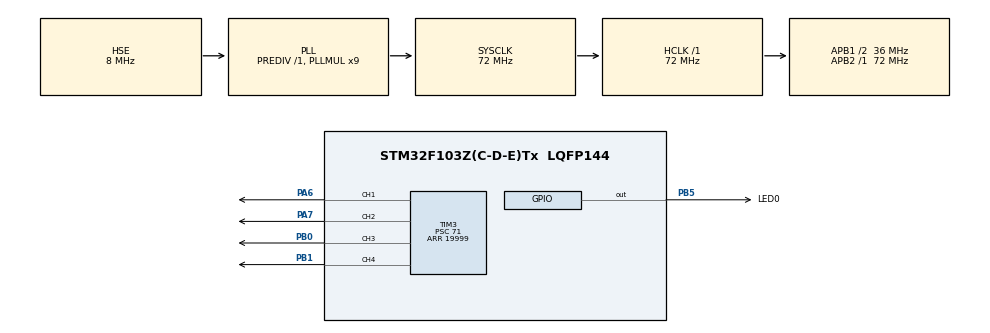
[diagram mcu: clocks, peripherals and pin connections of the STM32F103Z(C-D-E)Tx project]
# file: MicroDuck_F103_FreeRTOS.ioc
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FREERTOS.HEAP_NUMBER=4
FREERTOS.Tasks01=heartbeatTask,24,128,StartHeartbeatTask,Default,NULL,Dynamic,NULL,NULL
FREERTOS.configCHECK_FOR_STACK_OVERFLOW=2
FREERTOS.configTOTAL_HEAP_SIZE=8192
FREERTOS.configUSE_NEWLIB_REENTRANT=0
Mcu.Family=STM32F1
Mcu.Name=STM32F103Z(C-D-E)Tx
Mcu.Package=LQFP144
NVIC.PriorityGroup=NVIC_PRIORITYGROUP_4
NVIC.TIM1_UP_IRQn=true\:15\:0\:false\:false\:true\:false\:false\:true\:true
NVIC.TimeBase=TIM1_UP_IRQn
NVIC.TimeBaseIP=TIM1
OSC_IN.Mode=HSE-External-Oscillator
OSC_IN.Signal=RCC_OSC_IN
OSC_OUT.Mode=HSE-External-Oscillator
OSC_OUT.Signal=RCC_OSC_OUT
PA13.Mode=Serial_Wire
PA13.Signal=SYS_JTMS-SWDIO
PA14.Mode=Serial_Wire
PA14.Signal=SYS_JTCK-SWCLK
PA6.Signal=S_TIM3_CH1
PA7.Signal=S_TIM3_CH2
PB0.Signal=S_TIM3_CH3
PB1.Signal=S_TIM3_CH4
PB5.GPIO_Label=LED0
PB5.GPIO_PuPd=GPIO_NOPULL
PB5.GPIO_Speed=GPIO_SPEED_FREQ_LOW
PB5.PinState=GPIO_PIN_SET
PB5.Signal=GPIO_Output
ProjectManager.HeapSize=0x400
ProjectManager.StackSize=0x800
ProjectManager.TargetToolchain=STM32CubeIDE
RCC.AHBFreq_Value=72000000
RCC.APB1CLKDivider=RCC_HCLK_DIV2
RCC.APB1Freq_Value=36000000
RCC.APB1TimFreq_Value=72000000
RCC.APB2Freq_Value=72000000
RCC.APB2TimFreq_Value=72000000
RCC.HCLKFreq_Value=72000000
RCC.PLLMUL=RCC_PLL_MUL9
RCC.PLLSourceVirtual=RCC_PLLSOURCE_HSE
RCC.SYSCLKFreq_VALUE=72000000
RCC.SYSCLKSource=RCC_SYSCLKSOURCE_PLLCLK
RCC.USBFreq_Value=72000000
SH.S_TIM3_CH1.0=TIM3_CH1,PWM Generation1 CH1
SH.S_TIM3_CH2.0=TIM3_CH2,PWM Generation2 CH2
SH.S_TIM3_CH3.0=TIM3_CH3,PWM Generation3 CH3
SH.S_TIM3_CH4.0=TIM3_CH4,PWM Generation4 CH4
TIM3.Channel-PWM\ Generation1\ CH1=TIM_CHANNEL_1
TIM3.Channel-PWM\ Generation2\ CH2=TIM_CHANNEL_2
TIM3.Channel-PWM\ Generation3\ CH3=TIM_CHANNEL_3
TIM3.Channel-PWM\ Generation4\ CH4=TIM_CHANNEL_4
TIM3.Period=19999
TIM3.Prescaler=71
VP_FREERTOS_VS_CMSIS_V2.Mode=CMSIS_V2
VP_SYS_VS_tim1.Mode=TIM1
board=custom

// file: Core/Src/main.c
/* USER CODE BEGIN Header */
/**
  ******************************************************************************
  * @file           : main.c
  * @brief          : Main program body
  ******************************************************************************
  * @attention
  *
  * Copyright (c) 2026 STMicroelectronics.
  * All rights reserved.
  *
  * This software is licensed under terms that can be found in the LICENSE file
  * in the root directory of this software component.
  * If no LICENSE file comes with this software, it is provided AS-IS.
  *
  ******************************************************************************
  */
/* USER CODE END Header */
#include "main.h"
#include "cmsis_os.h"
#include "tim.h"
#include "gpio.h"

/* USER CODE BEGIN Includes */
#include "servo_pwm.h"
#include "servo_control.h"

/* USER CODE END Includes */

void SystemClock_Config(void);
void MX_FREERTOS_Init(void);

int main(void)
{

  /* MCU Configuration--------------------------------------------------------*/

  /* Reset of all peripherals, Initializes the Flash interface and the Systick. */
  HAL_Init();

  /* Configure the system clock */
  SystemClock_Config();

  /* Initialize all configured peripherals */
  MX_GPIO_Init();
  MX_TIM3_Init();
  /* USER CODE BEGIN 2 */
  if (ServoControl_Init() != SERVO_CONTROL_OK) {
      Error_Handler();
  }

  if (ServoPwm_Start() != HAL_OK) {
        Error_Handler();
    }
  /* USER CODE END 2 */

  /* Init scheduler */
  osKernelInitialize();  /* Call init function for freertos objects (in cmsis_os2.c) */
  MX_FREERTOS_Init();

  /* Start scheduler */
  osKernelStart();

  /* We should never get here as control is now taken by the scheduler */

  /* Infinite loop */
  while (1)
  {

  }
}

void SystemClock_Config(void)
{
  RCC_OscInitTypeDef RCC_OscInitStruct = {0};
  RCC_ClkInitTypeDef RCC_ClkInitStruct = {0};

  /** Initializes the RCC Oscillators according to the specified parameters
  * in the RCC_OscInitTypeDef structure.
  */
  RCC_OscInitStruct.OscillatorType = RCC_OSCILLATORTYPE_HSE;
  RCC_OscInitStruct.HSEState = RCC_HSE_ON;
  RCC_OscInitStruct.HSEPredivValue = RCC_HSE_PREDIV_DIV1;
  RCC_OscInitStruct.HSIState = RCC_HSI_ON;
  RCC_OscInitStruct.PLL.PLLState = RCC_PLL_ON;
  RCC_OscInitStruct.PLL.PLLSource = RCC_PLLSOURCE_HSE;
  RCC_OscInitStruct.PLL.PLLMUL = RCC_PLL_MUL9;
  if (HAL_RCC_OscConfig(&RCC_OscInitStruct) != HAL_OK)
  {
    Error_Handler();
  }

  /** Initializes the CPU, AHB and APB buses clocks
  */
  RCC_ClkInitStruct.ClockType = RCC_CLOCKTYPE_HCLK|RCC_CLOCKTYPE_SYSCLK
                              |RCC_CLOCKTYPE_PCLK1|RCC_CLOCKTYPE_PCLK2;
  RCC_ClkInitStruct.SYSCLKSource = RCC_SYSCLKSOURCE_PLLCLK;
  RCC_ClkInitStruct.AHBCLKDivider = RCC_SYSCLK_DIV1;
  RCC_ClkInitStruct.APB1CLKDivider = RCC_HCLK_DIV2;
  RCC_ClkInitStruct.APB2CLKDivider = RCC_HCLK_DIV1;

  if (HAL_RCC_ClockConfig(&RCC_ClkInitStruct, FLASH_LATENCY_2) != HAL_OK)
  {
    Error_Handler();
  }
}

void HAL_TIM_PeriodElapsedCallback(TIM_HandleTypeDef *htim)
{
  if (htim->Instance == TIM1)
  {
    HAL_IncTick();
  }
}

void Error_Handler(void)
{
  __disable_irq();
  while (1)
  {
  }
}

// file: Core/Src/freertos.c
/* USER CODE BEGIN Header */
/**
  ******************************************************************************
  * File Name          : freertos.c
  * Description        : Code for freertos applications
  ******************************************************************************
  * @attention
  *
  * Copyright (c) 2026 STMicroelectronics.
  * All rights reserved.
  *
  * This software is licensed under terms that can be found in the LICENSE file
  * in the root directory of this software component.
  * If no LICENSE file comes with this software, it is provided AS-IS.
  *
  ******************************************************************************
  */
/* USER CODE END Header */

#include "FreeRTOS.h"
#include "task.h"
#include "main.h"
#include "cmsis_os.h"

/* USER CODE BEGIN Includes */
#include "servo_task.h"
/* USER CODE END Includes */

/* USER CODE BEGIN Variables */
static osThreadId_t servoTaskHandle;

static const osThreadAttr_t servoTask_attributes = {
    .name = "servoTask",
    .stack_size = 128 * 4,
    .priority = osPriorityNormal,
};

/* USER CODE END Variables */
/* Definitions for heartbeatTask */
osThreadId_t heartbeatTaskHandle;
const osThreadAttr_t heartbeatTask_attributes = {
  .name = "heartbeatTask",
  .stack_size = 128 * 4,
  .priority = (osPriority_t) osPriorityNormal,
};

void StartHeartbeatTask(void *argument);

void MX_FREERTOS_Init(void); /* (MISRA C 2004 rule 8.1) */

/* Hook prototypes */
void vApplicationStackOverflowHook(xTaskHandle xTask, signed char *pcTaskName);

/* USER CODE BEGIN 4 */
void vApplicationStackOverflowHook(xTaskHandle xTask, signed char *pcTaskName)
{
   /* Run time stack overflow checking is performed if
   configCHECK_FOR_STACK_OVERFLOW is defined to 1 or 2. This hook function is
   called if a stack overflow is detected. */
  (void)xTask;
  (void)pcTaskName;
  __disable_irq();
  for (;;)
  {
  }
}
/* USER CODE END 4 */

void MX_FREERTOS_Init(void) {

  /* Create the thread(s) */
  /* creation of heartbeatTask */
  heartbeatTaskHandle = osThreadNew(StartHeartbeatTask, NULL, &heartbeatTask_attributes);

  /* USER CODE BEGIN RTOS_THREADS */
  servoTaskHandle = osThreadNew(ServoTask_Entry, NULL, &servoTask_attributes);

  if (servoTaskHandle == NULL) {
      Error_Handler();
  }
  /* USER CODE END RTOS_THREADS */

}

void StartHeartbeatTask(void *argument)
{
  /* USER CODE BEGIN StartHeartbeatTask */
  /* Infinite loop */
  for(;;)
  {
    HAL_GPIO_TogglePin(LED0_GPIO_Port, LED0_Pin);
    osDelay(500);
  }
  /* USER CODE END StartHeartbeatTask */
}
